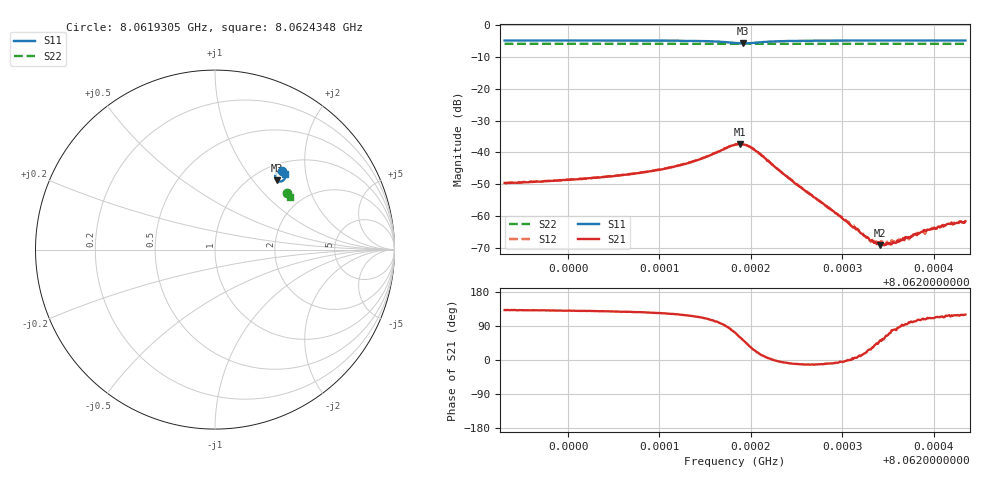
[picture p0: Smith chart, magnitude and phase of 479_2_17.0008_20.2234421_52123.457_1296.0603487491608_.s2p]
#  HZ  S  RI  R  50.00
! Rohde & Schwarz Vector Network Analyzer
! Rohde-Schwarz,ZNB20-2Port,1311601062101988,3.16
! Created: UTC 3/20/2024, 11:13:36 PM
! freq[Hz]  re:S11  im:S11  re:S21  im:S21  re:S12  im:S12  re:S22  im:S22
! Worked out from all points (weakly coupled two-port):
!   401 points, 8.0619305 GHz to 8.0624348 GHz, reference 50 ohm
!   highest |S21| = -37.43 dB at 8.0621877 GHz (marker M1); lowest = -69.2 dB at 8.0623415 GHz (marker M2)
!   lowest |S11| = -5.7 dB at 8.0621915 GHz (marker M3), VSWR 3.15, Z = 63.4 + j66.8 ohm
!   |S11| at or under -10 dB: nowhere
!   |S22| runs from -5.9 to -5.8 dB; largest |S21 - S12| = 0.0009
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8.06193048e9  0.3725 0.4395  -0.00221 0.00246  -0.00205 0.00262  0.4013 0.3154
8.06201496e9  0.3789 0.4336  -0.00241 0.00292  -0.00227 0.00311  0.4046 0.311
8.06205909e9  0.3827 0.4294  -0.00266 0.00351  -0.00248 0.00364  0.4061 0.3087
8.06209944e9  0.3867 0.4233  -0.00296 0.00442  -0.00271 0.00462  0.4076 0.3066
8.06213727e9  0.3906 0.4123  -0.00312 0.00651  -0.00275 0.00672  0.409 0.3041
8.06218266e9  0.3644 0.3795  0.00396 0.0126  0.00484 0.0124  0.409 0.301
8.06218771e9  0.3532 0.3812  0.00662 0.0117  0.00716 0.0115  0.4085 0.3009
8.06219149e9  0.3454 0.3855  0.00812 0.0105  0.00882 0.0102  0.4084 0.3009
8.0622041e9  0.3349 0.4105  0.00986 0.00468  0.0102 0.00416  0.4086 0.3018
8.06224823e9  0.3644 0.4356  0.0032 -0.000584  0.00322 -0.000793  0.4118 0.3003
8.06226714e9  0.3708 0.4345  0.00203 -0.00042  0.00203 -0.000548  0.4128 0.2993
8.06230497e9  0.3786 0.4318  0.00082 -2.61e-05  0.000807 -9.35e-05  0.4144 0.2972
8.06233019e9  0.3819 0.4298  0.000363 0.00019  0.000385 0.000167  0.4152 0.2959
8.06233775e9  0.3829 0.4294  0.000257 0.00025  0.000282 0.000275  0.4155 0.2956
8.06234154e9  0.3831 0.429  0.000213 0.000272  0.000245 0.000288  0.4156 0.2953
8.06234784e9  0.384 0.4286  0.000153 0.000314  0.00018 0.000321  0.4158 0.2949
8.06235162e9  0.3844 0.4284  0.000126 0.000354  0.000143 0.000329  0.416 0.2948
8.06236045e9  0.3852 0.4276  3.76e-05 0.00041  6.55e-05 0.000383  0.4164 0.2942
8.06239071e9  0.388 0.4256  -0.000178 0.000565  -0.000104 0.000511  0.4174 0.2927
8.06239576e9  0.3883 0.4253  -0.000219 0.000567  -0.000192 0.000592  0.4175 0.2925
8.06241719e9  0.39 0.424  -0.000357 0.000663  -0.0003 0.000679  0.4184 0.2913
8.06243484e9  0.3914 0.4229  -0.00041 0.000715  -0.000371 0.000744  0.4189 0.2904
